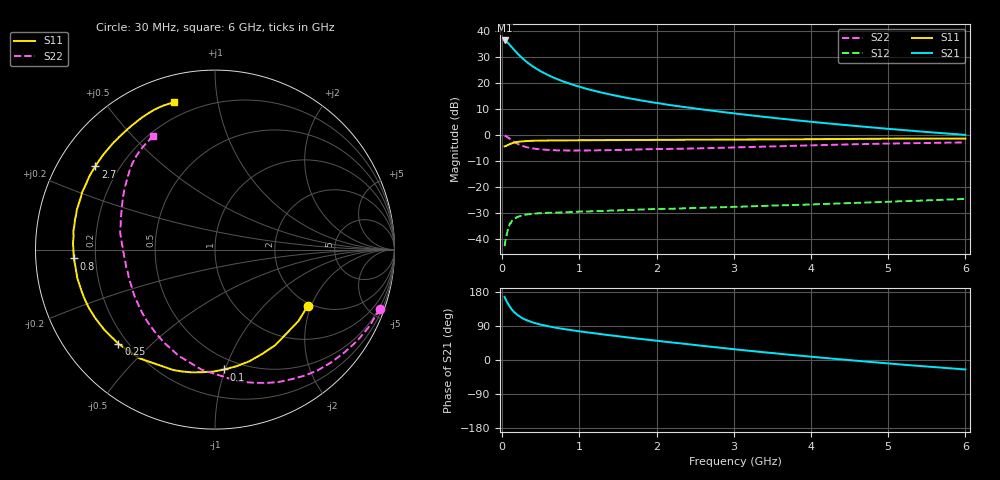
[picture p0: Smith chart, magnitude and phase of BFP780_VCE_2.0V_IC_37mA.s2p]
! Infineon Technologies  Discrete & RF Semiconductors
! BFP780
! VCE =  2.0 V,  IC =  37 mA
! Common Emitter S-Parameters:  Jul 2015
# GHz  S  MA  R  50
!  f  S11  S21  S12  S22
! GHz  MAG  ANG  MAG  ANG  MAG  ANG  MAG  ANG
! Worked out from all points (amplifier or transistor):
!   75 points, 30 MHz to 6 GHz, reference 50 ohm
!   highest |S21| = 36.2 dB at 30 MHz (marker M1)
!   |S21| within 3 dB of that: start of sweep to 135.9 MHz
!   unconditionally stable (mu >= 1): 2.141 GHz to end of sweep
!   at 150 MHz: K = 0.11, MSG = 32.5 dB, |S12| = -32.2 dB
!   at 2.3 GHz: K = 1.05, MAG = 18.2 dB, |S12| = -28.2 dB
!   at 6 GHz: K = 1.43, MAG = 8.4 dB, |S12| = -24.5 dB
!   S11 on the Smith chart (normalised r, x): 30 MHz: 1.92, -1.89; 100 MHz: 0.41, -0.99; 250 MHz: 0.16, -0.40; 800 MHz: 0.12, -0.03; 2.7 GHz: 0.11, +0.31; 6 GHz: 0.13, +0.75
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0.03  0.6046 -31.1  64.6 166.4  0.0074 78.2  0.9752 -19.7
0.05  0.6143 -49.6  61.92 157.5  0.0106 72.0  0.942 -32.5
0.06  0.6294 -57.9  60.24 153.6  0.0128 66.8  0.9211 -38.4
0.08  0.651 -72.9  56.49 146.2  0.0172 58.4  0.8829 -49.7
0.1  0.6699 -85.6  52.45 139.9  0.0204 53.4  0.8374 -59.7
0.12  0.6875 -96.4  48.61 134.2  0.022 49.3  0.7961 -68.9
0.15  0.71 -109.2  43.33 127.2  0.0245 43.0  0.7421 -80.6
0.2  0.7375 -124.7  36.02 118.3  0.027 34.3  0.6724 -96.5
0.25  0.7513 -135.7  30.51 111.6  0.0284 30.0  0.6255 -108.8
0.3  0.7615 -143.9  26.23 106.4  0.0298 25.7  0.5907 -118.8
0.35  0.7685 -150.1  22.93 102.3  0.0303 23.6  0.5667 -126.6
0.45  0.7767 -159.0  18.24 95.9  0.0314 20.5  0.5384 -138.5
0.6  0.7833 -168.1  13.86 88.9  0.0323 17.8  0.5166 -150.8
0.8  0.7879 -176.4  10.45 81.7  0.033 15.7  0.5053 -161.5
1.1  0.7914 174.8  7.592 72.9  0.0341 15.2  0.5039 -172.2
1.5  0.7975 166.1  5.541 62.8  0.0359 15.0  0.5148 178.4
2.1  0.806 155.1  3.886 48.5  0.0384 14.8  0.5372 168.2
2.7  0.8115 145.2  2.937 35.1  0.0407 14.5  0.5604 158.6
3.1  0.817 139.0  2.49 26.4  0.0423 14.4  0.5813 152.5
4.1  0.8304 125.0  1.731 6.8  0.0472 13.5  0.6366 139.5
5.1  0.8494 113.8  1.274 -10.7  0.0533 11.3  0.6869 128.4
6  0.8522 105.7  1.002 -25.0  0.0597 8.0  0.7198 118.5
